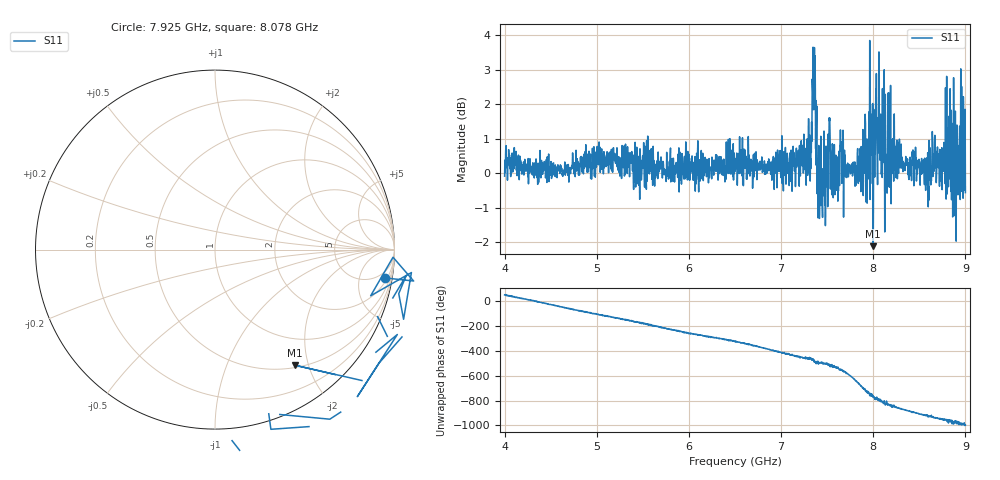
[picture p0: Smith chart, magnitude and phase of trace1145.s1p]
! Created with skrf 1.8.0 (http://scikit-rf.org).
# Hz S RI R 50.0
!freq ReS11 ImS11
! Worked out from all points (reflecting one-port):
!   1601 points, 4 GHz to 9 GHz, reference 50 ohm
!   lowest |S11| = -2.1 dB at 8 GHz (marker M1), VSWR 8.23, Z = 26.7 - j89.2 ohm
!   phase of S11 starts at 52 deg and turns -1050 deg over the sweep
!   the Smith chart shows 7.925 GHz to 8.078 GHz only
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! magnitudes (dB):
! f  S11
! 4 GHz  -0.1
! 4.625 GHz  -0.1
! 5.25 GHz  -0.1
! 5.875 GHz  0.1
! 6.5 GHz  0.4
! 7.125 GHz  0.5
! 7.297 GHz  1.6
! 7.362 GHz  3.6
! 7.4 GHz  -1.3
! 7.425 GHz  -0.3
! 7.494 GHz  0.1
! 7.512 GHz  1.1
! 7.575 GHz  0.2
! 7.65 GHz  0.6
! 7.75 GHz  0.1
! 7.909 GHz  0.5
! 7.962 GHz  3.9
! 8 GHz  -2.1
! 8.053 GHz  0.7
! 8.128 GHz  1.2
! 8.178 GHz  1.7
! 8.216 GHz  1.0
! 8.375 GHz  0.2
! 8.578 GHz  -0.2
! 8.822 GHz  1.0
! 8.875 GHz  1.2
! 8.956 GHz  0.5
! 9 GHz  -0.6
